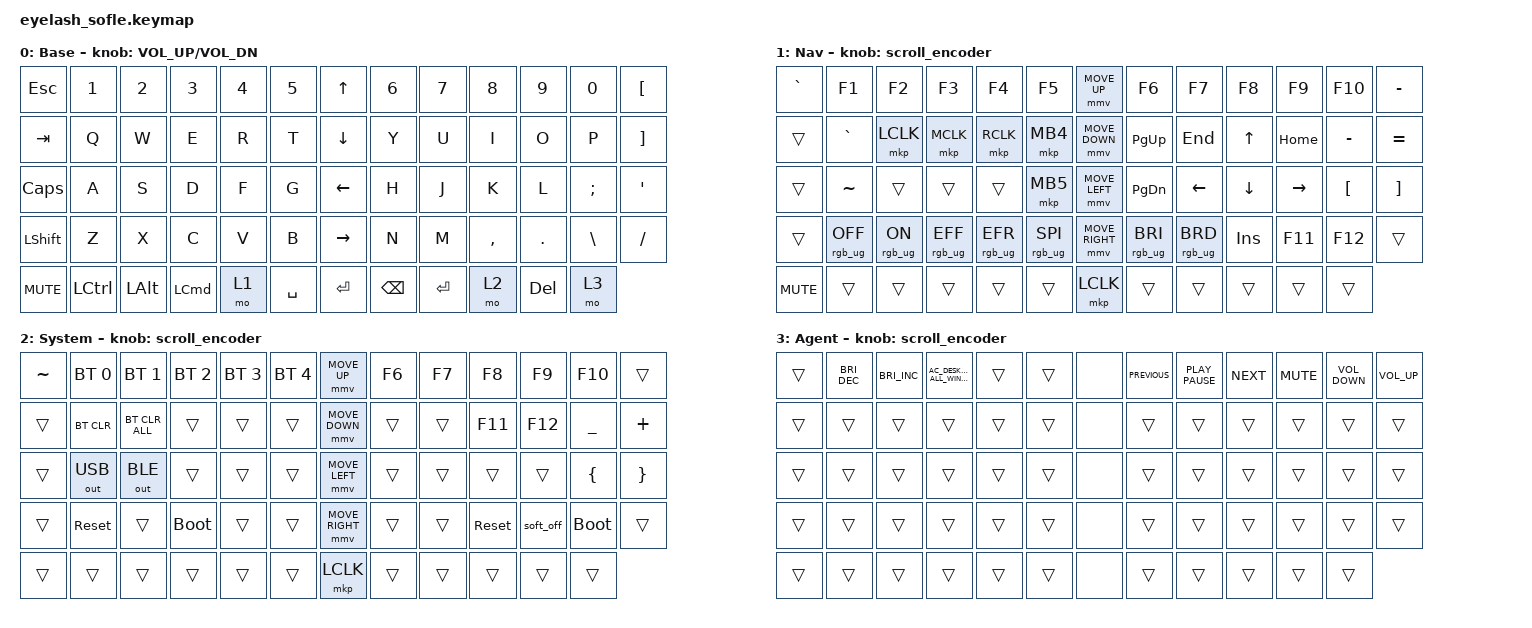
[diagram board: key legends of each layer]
/*
 * Keymap for the Eyelash Sofle. See README.md for a summary of what each layer
 * does, and docs/hardware.md for key positions and how the two halves divide up.
 *
 * Reading the bindings blocks below: each row of text is one physical row of the
 * keyboard, left half then right half. The single binding sitting alone in the
 * middle of each row is the 5-way navigation switch - up, down, left, right
 * reading down the rows, then its centre press on the bottom row.
 *
 * Layers are held rather than toggled:
 *   layer0   base        (default)
 *   layer_1  nav & mouse (hold &mo 1, left thumb)
 *   layer_2  system      (hold &mo 2, right thumb)
 *   layer_3  media + agent control (hold &mo 3, right-hand bottom row)
 *
 * Note: editing this keymap with keymap-editor rewrites the whole file and will
 * delete these comments. Editing by hand, or with ZMK Studio, leaves them alone.
 */

#define ZMK_POINTING_DEFAULT_MOVE_VAL 1200  // 600
#define ZMK_POINTING_DEFAULT_SCRL_VAL 25   // 10

#include <input/processors.dtsi>
#include <zephyr/dt-bindings/input/input-event-codes.h>
#include <behaviors.dtsi>
#include <dt-bindings/zmk/bt.h>
#include <dt-bindings/zmk/keys.h>
#include <dt-bindings/zmk/outputs.h>
#include <dt-bindings/zmk/pointing.h>
#include <dt-bindings/zmk/rgb.h>

&mmv_input_listener { input-processors = <&zip_xy_scaler 2 1>; };

&msc_input_listener { input-processors = <&zip_scroll_scaler 2 1>; };

&msc {
    acceleration-exponent = <1>;      // 0
    time-to-max-speed-ms = <100>;       // 300
    delay-ms = <0>;                   // 0
};

&mmv {
    time-to-max-speed-ms = <500>;
    acceleration-exponent = <1>;
    trigger-period-ms = <16>;
};

/ {
    scroll_encoder: scroll_encoder {
        compatible = "zmk,behavior-sensor-rotate";
        #sensor-binding-cells = <0>;
        bindings = <&msc SCRL_DOWN>, <&msc SCRL_UP>;

        tap-ms = <100>;
    };

    behaviors {
    };

    keymap {
        compatible = "zmk,keymap";

        layer0 {
            bindings = <
&kp ESC     &kp N1     &kp N2        &kp N3            &kp N4  &kp N5       &kp UP_ARROW     &kp N6         &kp N7     &kp N8     &kp N9   &kp N0         &kp LEFT_BRACKET
&kp TAB     &kp Q      &kp W         &kp E             &kp R   &kp T        &kp DOWN_ARROW   &kp Y          &kp U      &kp I      &kp O    &kp P          &kp RIGHT_BRACKET
&kp CAPS    &kp A      &kp S         &kp D             &kp F   &kp G        &kp LEFT_ARROW   &kp H          &kp J      &kp K      &kp L    &kp SEMI       &kp APOSTROPHE
&kp LSHFT   &kp Z      &kp X         &kp C             &kp V   &kp B        &kp RIGHT_ARROW  &kp N          &kp M      &kp COMMA  &kp DOT  &kp BACKSLASH  &kp SLASH
&kp C_MUTE  &kp LCTRL  &kp LEFT_ALT  &kp LEFT_COMMAND  &mo 1   &kp SPACE    &kp ENTER        &kp BACKSPACE  &kp ENTER  &mo 2      &kp DEL  &mo 3
            >;

            sensor-bindings = <&inc_dec_kp C_VOLUME_UP C_VOL_DN>;
            display-name = "Base";
        };

        layer_1 {
            bindings = <
&kp GRAVE   &kp F1           &kp F2          &kp F3           &kp F4           &kp F5             &mmv MOVE_UP     &kp F6           &kp F7           &kp F8      &kp F9     &kp F10           &kp MINUS
&trans      &kp GRAVE        &mkp LCLK       &mkp MCLK        &mkp RCLK        &mkp MB4           &mmv MOVE_DOWN   &kp PG_UP        &kp END          &kp UP      &kp HOME   &kp MINUS         &kp EQUAL
&trans      &kp TILDE        &trans          &trans           &trans           &mkp MB5           &mmv MOVE_LEFT   &kp PG_DN        &kp LEFT         &kp DOWN    &kp RIGHT  &kp LEFT_BRACKET  &kp RIGHT_BRACKET
&trans      &rgb_ug RGB_OFF  &rgb_ug RGB_ON  &rgb_ug RGB_EFF  &rgb_ug RGB_EFR  &rgb_ug RGB_SPI    &mmv MOVE_RIGHT  &rgb_ug RGB_BRI  &rgb_ug RGB_BRD  &kp INSERT  &kp F11    &kp F12           &trans
&kp C_MUTE  &trans           &trans          &trans           &trans           &trans             &mkp LCLK        &trans           &trans           &trans      &trans     &trans
            >;

            display-name = "Nav";
            sensor-bindings = <&scroll_encoder>;
        };

        layer_2 {
            bindings = <
&kp TILDE  &bt BT_SEL 0  &bt BT_SEL 1    &bt BT_SEL 2  &bt BT_SEL 3  &bt BT_SEL 4    &mmv MOVE_UP     &kp F6  &kp F7  &kp F8      &kp F9     &kp F10      &trans
&trans     &bt BT_CLR    &bt BT_CLR_ALL  &trans        &trans        &trans          &mmv MOVE_DOWN   &trans  &trans  &kp F11     &kp F12    &kp UNDER    &kp PLUS
&trans     &out OUT_USB  &out OUT_BLE    &trans        &trans        &trans          &mmv MOVE_LEFT   &trans  &trans  &trans      &trans     &kp LBRC     &kp RBRC
&trans     &sys_reset    &trans          &bootloader   &trans        &trans          &mmv MOVE_RIGHT  &trans  &trans  &sys_reset  &soft_off  &bootloader  &trans
&trans     &trans        &trans          &trans        &trans        &trans          &mkp LCLK        &trans  &trans  &trans      &trans     &trans
            >;

            sensor-bindings = <&scroll_encoder>;
            display-name = "System";
        };

        // Media, and the agent layer. The five &none bindings are the 5-way
        // navigation switch: while this layer is held, agentctl claims those
        // contacts and reports them to the soflectl daemon instead of typing.
        // They are &none rather than &trans so that nothing is sent even if
        // agentctl is compiled out. See docs/soflectl.md.
        layer_3 {
            bindings = <
&trans  &kp C_BRIGHTNESS_DEC  &kp C_BRI_INC  &kp C_AC_DESKTOP_SHOW_ALL_WINDOWS  &trans  &trans    &none   &kp K_PREVIOUS  &kp K_PLAY_PAUSE  &kp K_NEXT  &kp K_MUTE  &kp C_VOLUME_DOWN  &kp C_VOLUME_UP
&trans  &trans                &trans         &trans                             &trans  &trans    &none   &trans          &trans            &trans      &trans      &trans             &trans
&trans  &trans                &trans         &trans                             &trans  &trans    &none   &trans          &trans            &trans      &trans      &trans             &trans
&trans  &trans                &trans         &trans                             &trans  &trans    &none   &trans          &trans            &trans      &trans      &trans             &trans
&trans  &trans                &trans         &trans                             &trans  &trans    &none   &trans          &trans            &trans      &trans      &trans
            >;

            // Scroll rather than volume: agentctl also reports encoder turns
            // to the host on this layer, and scrolling is the less annoying
            // thing to trigger alongside cycling sessions.
            sensor-bindings = <&scroll_encoder>;
            display-name = "Agent";
        };
    };
};
